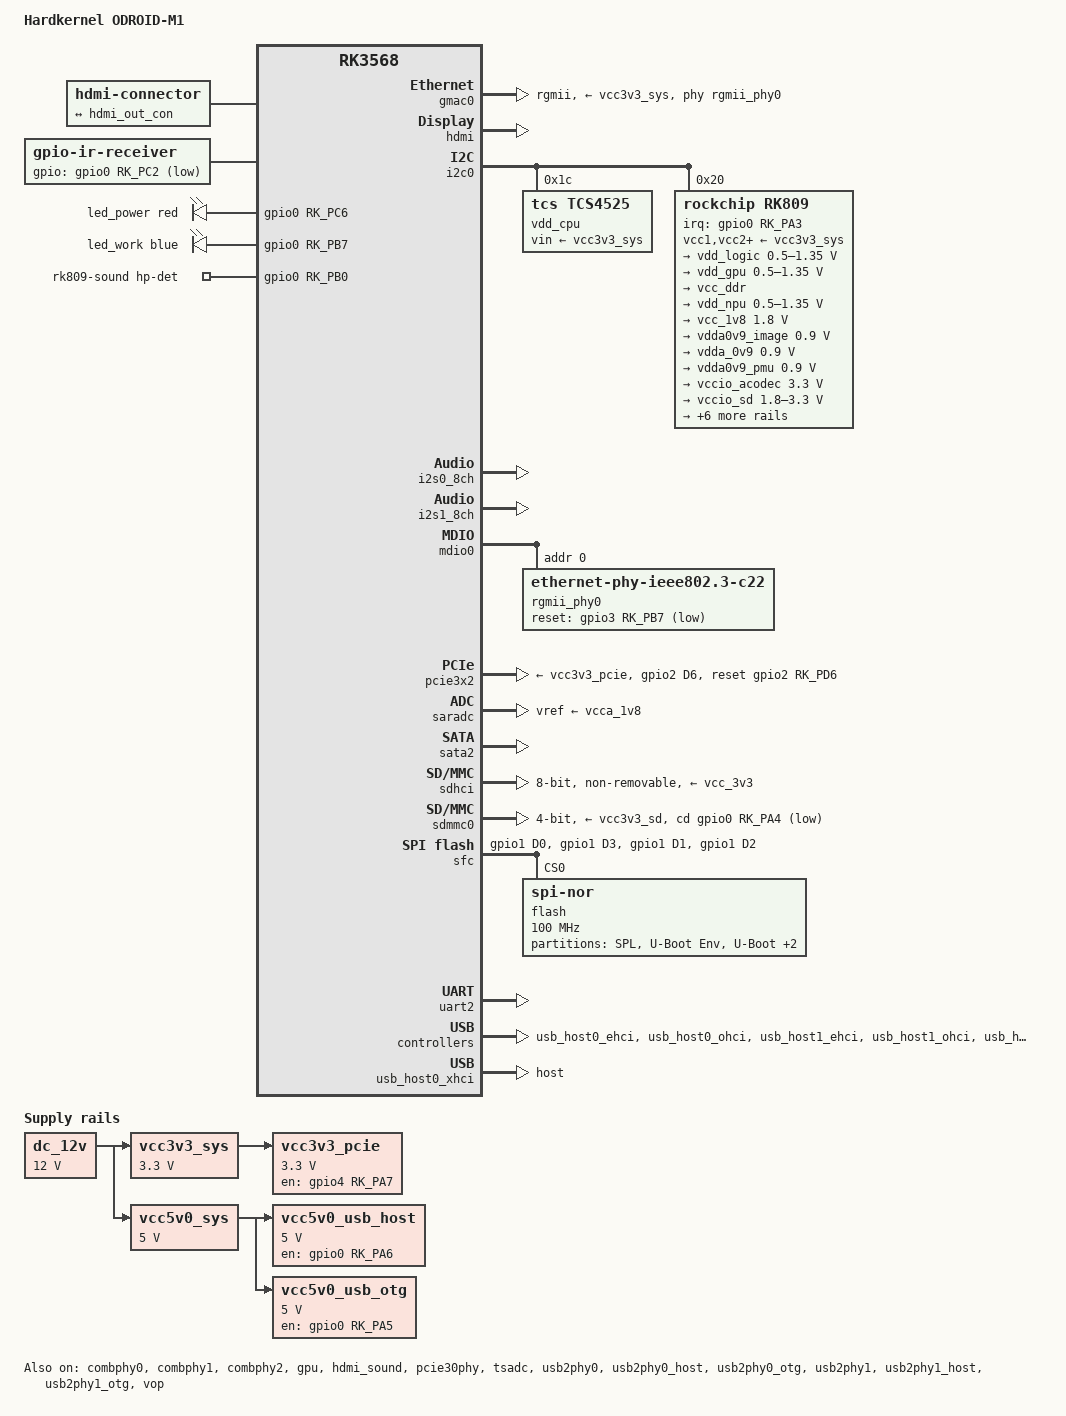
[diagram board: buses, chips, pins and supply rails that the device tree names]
// SPDX-License-Identifier: (GPL-2.0+ OR MIT)
/*
 * Copyright (c) 2022 Hardkernel Co., Ltd.
 *
 */

/dts-v1/;
#include <dt-bindings/gpio/gpio.h>
#include <dt-bindings/leds/common.h>
#include <dt-bindings/pinctrl/rockchip.h>
#include <dt-bindings/soc/rockchip,vop2.h>
#include "rk3568.dtsi"

/ {
	model = "Hardkernel ODROID-M1";
	compatible = "hardkernel,odroid-m1", "rockchip,rk3568";

	aliases {
		ethernet0 = &gmac0;
		i2c0 = &i2c3;
		i2c3 = &i2c0;
		mmc0 = &sdhci;
		mmc1 = &sdmmc0;
		serial0 = &uart1;
		serial1 = &uart0;
	};

	chosen {
		stdout-path = "serial2:1500000n8";
	};

	dc_12v: dc-12v-regulator {
		compatible = "regulator-fixed";
		regulator-name = "dc_12v";
		regulator-always-on;
		regulator-boot-on;
		regulator-min-microvolt = <12000000>;
		regulator-max-microvolt = <12000000>;
	};

	hdmi-con {
		compatible = "hdmi-connector";
		type = "a";

		port {
			hdmi_con_in: endpoint {
				remote-endpoint = <&hdmi_out_con>;
			};
		};
	};

	ir-receiver {
		compatible = "gpio-ir-receiver";
		gpios = <&gpio0 RK_PC2 GPIO_ACTIVE_LOW>;
		pinctrl-names = "default";
		pinctrl-0 = <&ir_receiver_pin>;
	};

	leds {
		compatible = "gpio-leds";

		led_power: led-0 {
			gpios = <&gpio0 RK_PC6 GPIO_ACTIVE_HIGH>;
			function = LED_FUNCTION_POWER;
			color = <LED_COLOR_ID_RED>;
			default-state = "keep";
			linux,default-trigger = "default-on";
			pinctrl-names = "default";
			pinctrl-0 = <&led_power_pin>;
		};
		led_work: led-1 {
			gpios = <&gpio0 RK_PB7 GPIO_ACTIVE_HIGH>;
			function = LED_FUNCTION_HEARTBEAT;
			color = <LED_COLOR_ID_BLUE>;
			linux,default-trigger = "heartbeat";
			pinctrl-names = "default";
			pinctrl-0 = <&led_work_pin>;
		};
	};

	rk809-sound {
		compatible = "simple-audio-card";
		pinctrl-names = "default";
		pinctrl-0 = <&hp_det_pin>;
		simple-audio-card,name = "Analog RK817";
		simple-audio-card,format = "i2s";
		simple-audio-card,hp-det-gpio = <&gpio0 RK_PB0 GPIO_ACTIVE_HIGH>;
		simple-audio-card,mclk-fs = <256>;
		simple-audio-card,widgets =
			"Headphone", "Headphones",
			"Speaker", "Speaker";
		simple-audio-card,routing =
			"Headphones", "HPOL",
			"Headphones", "HPOR",
			"Speaker", "SPKO";

		simple-audio-card,cpu {
			sound-dai = <&i2s1_8ch>;
		};

		simple-audio-card,codec {
			sound-dai = <&rk809>;
		};
	};

	vcc3v3_pcie: vcc3v3-pcie-regulator {
		compatible = "regulator-fixed";
		regulator-name = "vcc3v3_pcie";
		enable-active-high;
		gpio = <&gpio4 RK_PA7 GPIO_ACTIVE_HIGH>;
		pinctrl-names = "default";
		pinctrl-0 = <&vcc3v3_pcie_en_pin>;
		regulator-min-microvolt = <3300000>;
		regulator-max-microvolt = <3300000>;
		startup-delay-us = <5000>;
		vin-supply = <&vcc3v3_sys>;
	};

	vcc3v3_sys: vcc3v3-sys-regulator {
		compatible = "regulator-fixed";
		regulator-name = "vcc3v3_sys";
		regulator-always-on;
		regulator-boot-on;
		regulator-min-microvolt = <3300000>;
		regulator-max-microvolt = <3300000>;
		vin-supply = <&dc_12v>;
	};

	vcc5v0_sys: vcc5v0-sys-regulator {
		compatible = "regulator-fixed";
		regulator-name = "vcc5v0_sys";
		regulator-always-on;
		regulator-boot-on;
		regulator-min-microvolt = <5000000>;
		regulator-max-microvolt = <5000000>;
		vin-supply = <&dc_12v>;
	};

	vcc5v0_usb_host: vcc5v0-usb-host-regulator {
		compatible = "regulator-fixed";
		regulator-name = "vcc5v0_usb_host";
		enable-active-high;
		gpio = <&gpio0 RK_PA6 GPIO_ACTIVE_HIGH>;
		pinctrl-names = "default";
		pinctrl-0 = <&vcc5v0_usb_host_en_pin>;
		regulator-min-microvolt = <5000000>;
		regulator-max-microvolt = <5000000>;
		vin-supply = <&vcc5v0_sys>;
	};

	vcc5v0_usb_otg: vcc5v0-usb-otg-regulator {
		compatible = "regulator-fixed";
		regulator-name = "vcc5v0_usb_otg";
		enable-active-high;
		gpio = <&gpio0 RK_PA5 GPIO_ACTIVE_HIGH>;
		pinctrl-names = "default";
		pinctrl-0 = <&vcc5v0_usb_otg_en_pin>;
		regulator-min-microvolt = <5000000>;
		regulator-max-microvolt = <5000000>;
		vin-supply = <&vcc5v0_sys>;
	};
};

&combphy0 {
	/* Used for USB3 */
	phy-supply = <&vcc5v0_usb_host>;
	status = "okay";
};

&combphy1 {
	/* Used for USB3 */
	phy-supply = <&vcc5v0_usb_otg>;
	status = "okay";
};

&combphy2 {
	/* used for SATA */
	status = "okay";
};

&cpu0 {
	cpu-supply = <&vdd_cpu>;
};

&cpu1 {
	cpu-supply = <&vdd_cpu>;
};

&cpu2 {
	cpu-supply = <&vdd_cpu>;
};

&cpu3 {
	cpu-supply = <&vdd_cpu>;
};

&gmac0 {
	assigned-clocks = <&cru SCLK_GMAC0_RX_TX>, <&cru SCLK_GMAC0>;
	assigned-clock-parents = <&cru SCLK_GMAC0_RGMII_SPEED>;
	assigned-clock-rates = <0>, <125000000>;
	clock_in_out = "output";
	phy-handle = <&rgmii_phy0>;
	phy-mode = "rgmii";
	phy-supply = <&vcc3v3_sys>;
	pinctrl-names = "default";
	pinctrl-0 = <&gmac0_miim
		     &gmac0_tx_bus2
		     &gmac0_rx_bus2
		     &gmac0_rgmii_clk
		     &gmac0_rgmii_bus>;
	status = "okay";

	tx_delay = <0x4f>;
	rx_delay = <0x2d>;
};

&gpu {
	mali-supply = <&vdd_gpu>;
	status = "okay";
};

&hdmi {
	avdd-0v9-supply = <&vdda0v9_image>;
	avdd-1v8-supply = <&vcca1v8_image>;
	status = "okay";
};

&hdmi_in {
	hdmi_in_vp0: endpoint {
		remote-endpoint = <&vp0_out_hdmi>;
	};
};

&hdmi_out {
	hdmi_out_con: endpoint {
		remote-endpoint = <&hdmi_con_in>;
	};
};

&hdmi_sound {
	status = "okay";
};

&i2c0 {
	status = "okay";

	vdd_cpu: regulator@1c {
		compatible = "tcs,tcs4525";
		reg = <0x1c>;
		fcs,suspend-voltage-selector = <1>;
		regulator-name = "vdd_cpu";
		regulator-always-on;
		regulator-boot-on;
		regulator-min-microvolt = <800000>;
		regulator-max-microvolt = <1150000>;
		regulator-ramp-delay = <2300>;
		vin-supply = <&vcc3v3_sys>;

		regulator-state-mem {
			regulator-off-in-suspend;
		};
	};

	rk809: pmic@20 {
		compatible = "rockchip,rk809";
		reg = <0x20>;
		interrupt-parent = <&gpio0>;
		interrupts = <RK_PA3 IRQ_TYPE_LEVEL_LOW>;
		assigned-clocks = <&cru I2S1_MCLKOUT_TX>;
		assigned-clock-parents = <&cru CLK_I2S1_8CH_TX>;
		#clock-cells = <1>;
		clock-names = "mclk";
		clocks = <&cru I2S1_MCLKOUT_TX>;
		pinctrl-names = "default";
		pinctrl-0 = <&pmic_int_l>, <&i2s1m0_mclk>;
		rockchip,system-power-controller;
		#sound-dai-cells = <0>;
		vcc1-supply = <&vcc3v3_sys>;
		vcc2-supply = <&vcc3v3_sys>;
		vcc3-supply = <&vcc3v3_sys>;
		vcc4-supply = <&vcc3v3_sys>;
		vcc5-supply = <&vcc3v3_sys>;
		vcc6-supply = <&vcc3v3_sys>;
		vcc7-supply = <&vcc3v3_sys>;
		vcc8-supply = <&vcc3v3_sys>;
		vcc9-supply = <&vcc3v3_sys>;
		wakeup-source;

		regulators {
			vdd_logic: DCDC_REG1 {
				regulator-name = "vdd_logic";
				regulator-always-on;
				regulator-boot-on;
				regulator-initial-mode = <0x2>;
				regulator-min-microvolt = <500000>;
				regulator-max-microvolt = <1350000>;
				regulator-ramp-delay = <6001>;

				regulator-state-mem {
					regulator-off-in-suspend;
				};
			};

			vdd_gpu: DCDC_REG2 {
				regulator-name = "vdd_gpu";
				regulator-always-on;
				regulator-initial-mode = <0x2>;
				regulator-min-microvolt = <500000>;
				regulator-max-microvolt = <1350000>;
				regulator-ramp-delay = <6001>;

				regulator-state-mem {
					regulator-off-in-suspend;
				};
			};

			vcc_ddr: DCDC_REG3 {
				regulator-name = "vcc_ddr";
				regulator-always-on;
				regulator-boot-on;
				regulator-initial-mode = <0x2>;

				regulator-state-mem {
					regulator-on-in-suspend;
				};
			};

			vdd_npu: DCDC_REG4 {
				regulator-name = "vdd_npu";
				regulator-initial-mode = <0x2>;
				regulator-min-microvolt = <500000>;
				regulator-max-microvolt = <1350000>;
				regulator-ramp-delay = <6001>;

				regulator-state-mem {
					regulator-off-in-suspend;
				};
			};

			vcc_1v8: DCDC_REG5 {
				regulator-name = "vcc_1v8";
				regulator-always-on;
				regulator-boot-on;
				regulator-min-microvolt = <1800000>;
				regulator-max-microvolt = <1800000>;

				regulator-state-mem {
					regulator-off-in-suspend;
				};
			};

			vdda0v9_image: LDO_REG1 {
				regulator-name = "vdda0v9_image";
				regulator-always-on;
				regulator-min-microvolt = <900000>;
				regulator-max-microvolt = <900000>;

				regulator-state-mem {
					regulator-off-in-suspend;
				};
			};

			vdda_0v9: LDO_REG2 {
				regulator-name = "vdda_0v9";
				regulator-always-on;
				regulator-boot-on;
				regulator-min-microvolt = <900000>;
				regulator-max-microvolt = <900000>;

				regulator-state-mem {
					regulator-off-in-suspend;
				};
			};

			vdda0v9_pmu: LDO_REG3 {
				regulator-name = "vdda0v9_pmu";
				regulator-always-on;
				regulator-boot-on;
				regulator-min-microvolt = <900000>;
				regulator-max-microvolt = <900000>;

				regulator-state-mem {
					regulator-on-in-suspend;
					regulator-suspend-microvolt = <900000>;
				};
			};

			vccio_acodec: LDO_REG4 {
				regulator-name = "vccio_acodec";
				regulator-always-on;
				regulator-boot-on;
				regulator-min-microvolt = <3300000>;
				regulator-max-microvolt = <3300000>;

				regulator-state-mem {
					regulator-off-in-suspend;
				};
			};

			vccio_sd: LDO_REG5 {
				regulator-name = "vccio_sd";
				regulator-min-microvolt = <1800000>;
				regulator-max-microvolt = <3300000>;

				regulator-state-mem {
					regulator-off-in-suspend;
				};
			};

			vcc3v3_pmu: LDO_REG6 {
				regulator-name = "vcc3v3_pmu";
				regulator-always-on;
				regulator-boot-on;
				regulator-min-microvolt = <3300000>;
				regulator-max-microvolt = <3300000>;

				regulator-state-mem {
					regulator-on-in-suspend;
					regulator-suspend-microvolt = <3300000>;
				};
			};

			vcca_1v8: LDO_REG7 {
				regulator-name = "vcca_1v8";
				regulator-always-on;
				regulator-boot-on;
				regulator-min-microvolt = <1800000>;
				regulator-max-microvolt = <1800000>;

				regulator-state-mem {
					regulator-off-in-suspend;
				};
			};

			vcca1v8_pmu: LDO_REG8 {
				regulator-name = "vcca1v8_pmu";
				regulator-always-on;
				regulator-boot-on;
				regulator-min-microvolt = <1800000>;
				regulator-max-microvolt = <1800000>;

				regulator-state-mem {
					regulator-on-in-suspend;
					regulator-suspend-microvolt = <1800000>;
				};
			};

			vcca1v8_image: LDO_REG9 {
				regulator-name = "vcca1v8_image";
				regulator-always-on;
				regulator-min-microvolt = <1800000>;
				regulator-max-microvolt = <1800000>;

				regulator-state-mem {
					regulator-off-in-suspend;
				};
			};

			vcc_3v3: SWITCH_REG1 {
				regulator-name = "vcc_3v3";
				regulator-always-on;
				regulator-boot-on;

				regulator-state-mem {
					regulator-off-in-suspend;
				};
			};

			vcc3v3_sd: SWITCH_REG2 {
				regulator-name = "vcc3v3_sd";

				regulator-state-mem {
					regulator-off-in-suspend;
				};
			};
		};
	};
};

&i2s0_8ch {
	status = "okay";
};

&i2s1_8ch {
	rockchip,trcm-sync-tx-only;
	status = "okay";
};

&mdio0 {
	rgmii_phy0: ethernet-phy@0 {
		compatible = "ethernet-phy-ieee802.3-c22";
		reg = <0x0>;
		reset-assert-us = <20000>;
		reset-deassert-us = <100000>;
		reset-gpios = <&gpio3 RK_PB7 GPIO_ACTIVE_LOW>;
	};
};

&pcie30phy {
	status = "okay";
};

&pcie3x2 {
	pinctrl-names = "default";
	pinctrl-0 = <&pcie_reset_pin>;
	reset-gpios = <&gpio2 RK_PD6 GPIO_ACTIVE_HIGH>;
	vpcie3v3-supply = <&vcc3v3_pcie>;
	status = "okay";
};

&pinctrl {
	fspi {
		fspi_dual_io_pins: fspi-dual-io-pins {
			rockchip,pins =
				/* fspi_clk */
				<1 RK_PD0 1 &pcfg_pull_none>,
				/* fspi_cs0n */
				<1 RK_PD3 1 &pcfg_pull_none>,
				/* fspi_d0 */
				<1 RK_PD1 1 &pcfg_pull_none>,
				/* fspi_d1 */
				<1 RK_PD2 1 &pcfg_pull_none>;
		};
	};

	ir-receiver {
		ir_receiver_pin: ir-receiver-pin {
			/* external pullup to VCC3V3_SYS */
			rockchip,pins = <0 RK_PC2 RK_FUNC_GPIO &pcfg_pull_none>;
		};
	};

	leds {
		led_power_pin: led-power-pin {
			rockchip,pins = <0 RK_PC6 RK_FUNC_GPIO &pcfg_pull_none>;
		};
		led_work_pin: led-work-pin {
			rockchip,pins = <0 RK_PB7 RK_FUNC_GPIO &pcfg_pull_none>;
		};
	};

	pcie {
		pcie_reset_pin: pcie-reset-pin {
			rockchip,pins = <2 RK_PD6 RK_FUNC_GPIO &pcfg_pull_none>;
		};
		vcc3v3_pcie_en_pin: vcc3v3-pcie-en-pin {
			rockchip,pins = <4 RK_PA7 RK_FUNC_GPIO &pcfg_pull_none>;
		};
	};

	pmic {
		pmic_int_l: pmic-int-l {
			rockchip,pins = <0 RK_PA3 RK_FUNC_GPIO &pcfg_pull_up>;
		};
	};

	rk809 {
		hp_det_pin: hp-det-pin {
			rockchip,pins = <0 RK_PB0 RK_FUNC_GPIO &pcfg_pull_none>;
		};
	};

	usb {
		vcc5v0_usb_host_en_pin: vcc5v0-usb-host-en-pin {
			rockchip,pins = <0 RK_PA6 RK_FUNC_GPIO &pcfg_pull_none>;
		};
		vcc5v0_usb_otg_en_pin: vcc5v0-usb-dr-en-pin {
			rockchip,pins = <0 RK_PA5 RK_FUNC_GPIO &pcfg_pull_none>;
		};
	};
};

&pmu_io_domains {
	pmuio1-supply = <&vcc3v3_pmu>;
	pmuio2-supply = <&vcc3v3_pmu>;
	vccio1-supply = <&vccio_acodec>;
	vccio2-supply = <&vcc_1v8>;
	vccio3-supply = <&vccio_sd>;
	vccio4-supply = <&vcc_1v8>;
	vccio5-supply = <&vcc_3v3>;
	vccio6-supply = <&vcc_3v3>;
	vccio7-supply = <&vcc_3v3>;
	status = "okay";
};

&saradc {
	vref-supply = <&vcca_1v8>;
	status = "okay";
};

&sata2 {
	status = "okay";
};

&sdhci {
	bus-width = <8>;
	max-frequency = <200000000>;
	non-removable;
	pinctrl-names = "default";
	pinctrl-0 = <&emmc_bus8 &emmc_clk &emmc_cmd &emmc_datastrobe &emmc_rstnout>;
	vmmc-supply = <&vcc_3v3>;
	vqmmc-supply = <&vcc_1v8>;
	status = "okay";
};

&sdmmc0 {
	bus-width = <4>;
	cap-sd-highspeed;
	cd-gpios = <&gpio0 RK_PA4 GPIO_ACTIVE_LOW>;
	disable-wp;
	pinctrl-names = "default";
	pinctrl-0 = <&sdmmc0_bus4 &sdmmc0_clk &sdmmc0_cmd &sdmmc0_det>;
	sd-uhs-sdr50;
	vmmc-supply = <&vcc3v3_sd>;
	vqmmc-supply = <&vccio_sd>;
	status = "okay";
};

&sfc {
	/* Dual I/O mode as the D2 pin conflicts with the eMMC */
	pinctrl-0 = <&fspi_dual_io_pins>;
	pinctrl-names = "default";
	#address-cells = <1>;
	#size-cells = <0>;
	status = "okay";

	flash@0 {
		compatible = "jedec,spi-nor";
		reg = <0>;
		spi-max-frequency = <100000000>;
		spi-rx-bus-width = <2>;
		spi-tx-bus-width = <1>;

		partitions {
			compatible = "fixed-partitions";
			#address-cells = <1>;
			#size-cells = <1>;

			partition@0 {
				label = "SPL";
				reg = <0x0 0xe0000>;
			};
			partition@e0000 {
				label = "U-Boot Env";
				reg = <0xe0000 0x20000>;
			};
			partition@100000 {
				label = "U-Boot";
				reg = <0x100000 0x200000>;
			};
			partition@300000 {
				label = "splash";
				reg = <0x300000 0x100000>;
			};
			partition@400000 {
				label = "Filesystem";
				reg = <0x400000 0xc00000>;
			};
		};
	};
};

&tsadc {
	rockchip,hw-tshut-mode = <1>;
	rockchip,hw-tshut-polarity = <0>;
	status = "okay";
};

&uart2 {
	status = "okay";
};

&usb_host0_ehci {
	status = "okay";
};

&usb_host0_ohci {
	status = "okay";
};

&usb_host0_xhci {
	dr_mode = "host";
	status = "okay";
};

&usb_host1_ehci {
	status = "okay";
};

&usb_host1_ohci {
	status = "okay";
};

&usb_host1_xhci {
	status = "okay";
};

&usb2phy0 {
	status = "okay";
};

&usb2phy0_host {
	phy-supply = <&vcc5v0_usb_host>;
	status = "okay";
};

&usb2phy0_otg {
	phy-supply = <&vcc5v0_usb_otg>;
	status = "okay";
};

&usb2phy1 {
	status = "okay";
};

&usb2phy1_host {
	phy-supply = <&vcc5v0_usb_host>;
	status = "okay";
};

&usb2phy1_otg {
	phy-supply = <&vcc5v0_usb_host>;
	status = "okay";
};

&vop {
	assigned-clocks = <&cru DCLK_VOP0>, <&cru DCLK_VOP1>;
	assigned-clock-parents = <&pmucru PLL_HPLL>, <&cru PLL_VPLL>;
	status = "okay";
};

&vop_mmu {
	status = "okay";
};

&vp0 {
	vp0_out_hdmi: endpoint@ROCKCHIP_VOP2_EP_HDMI0 {
		reg = <ROCKCHIP_VOP2_EP_HDMI0>;
		remote-endpoint = <&hdmi_in_vp0>;
	};
};
